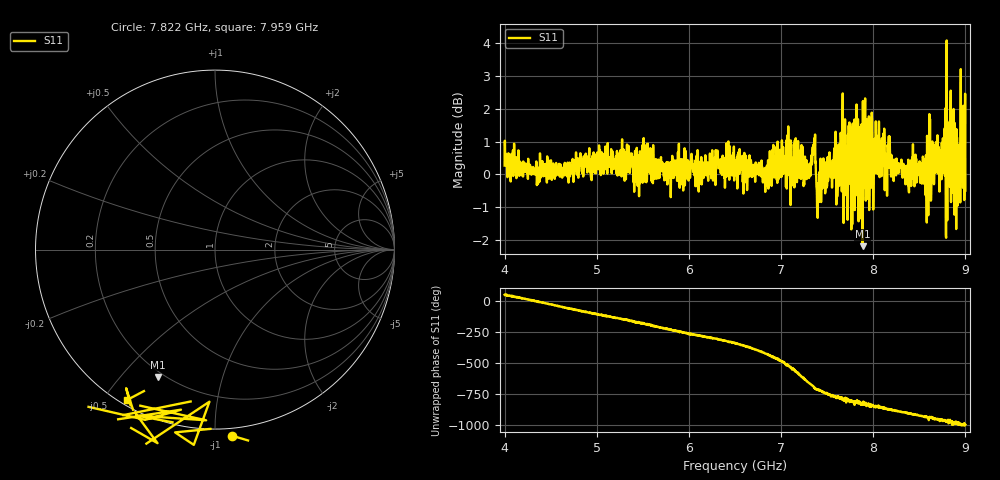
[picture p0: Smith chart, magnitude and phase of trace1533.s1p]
! Created with skrf 1.8.0 (http://scikit-rf.org).
# Hz S RI R 50.0
!freq ReS11 ImS11
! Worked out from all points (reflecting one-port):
!   1601 points, 4 GHz to 9 GHz, reference 50 ohm
!   lowest |S11| = -2.2 dB at 7.884 GHz (marker M1), VSWR 7.96, Z = 8.87 - j31.7 ohm
!   phase of S11 starts at 50 deg and turns -1049 deg over the sweep
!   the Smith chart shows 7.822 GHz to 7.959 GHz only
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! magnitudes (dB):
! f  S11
! 4 GHz  0.3
! 4.625 GHz  -0.1
! 5.25 GHz  0.0
! 5.875 GHz  0.3
! 6.5 GHz  0.4
! 6.847 GHz  0.3
! 7.069 GHz  0.5
! 7.125 GHz  0.1
! 7.162 GHz  -0.2
! 7.269 GHz  0.2
! 7.35 GHz  0.7
! 7.409 GHz  -0.8
! 7.569 GHz  -0.1
! 7.619 GHz  -0.3
! 7.65 GHz  1.1
! 7.697 GHz  0.5
! 7.75 GHz  -0.3
! 7.884 GHz  -2.2
! 8.375 GHz  0.2
! 8.441 GHz  -0.2
! 8.581 GHz  -1.5
! 8.659 GHz  -0.3
! 8.766 GHz  0.9
! 8.819 GHz  0.7
! 8.875 GHz  0.3
! 8.919 GHz  -0.5
! 8.972 GHz  0.5
! 9 GHz  -0.5
